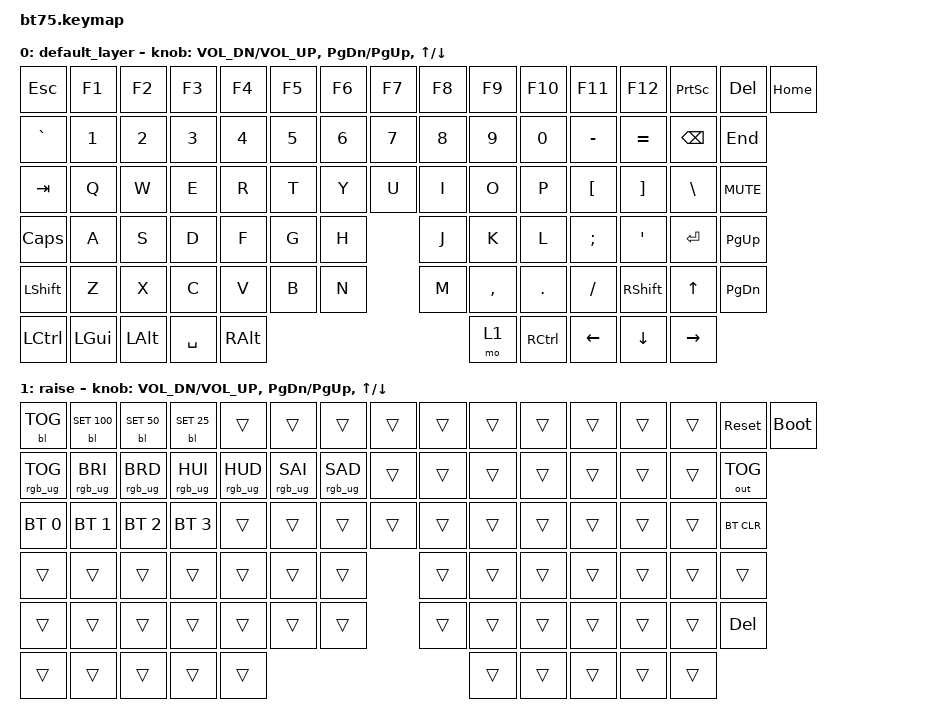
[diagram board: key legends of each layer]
#include <behaviors.dtsi>
#include <dt-bindings/zmk/keys.h>
#include <dt-bindings/zmk/bt.h>
#include <dt-bindings/zmk/rgb.h>
#include <dt-bindings/zmk/backlight.h>
#include <dt-bindings/zmk/ext_power.h>
#include <dt-bindings/zmk/outputs.h>

/ {
	keymap {
		compatible = "zmk,keymap";
		default_layer {
			bindings = <
&kp ESC 	&kp F1	&kp F2	&kp F3	&kp F4	&kp F5	&kp F6	&kp F7	&kp F8		&kp F9	&kp F10		&kp F11		&kp F12		&kp PSCRN	&kp DEL	&kp HOME
&kp GRAVE 	&kp N1	&kp N2	&kp N3	&kp N4	&kp N5	&kp N6	&kp N7	&kp N8		&kp N9	&kp N0		&kp MINUS	&kp EQUAL	&kp BKSP		&kp END
&kp TAB		&kp Q	&kp W	&kp E	&kp R	&kp T	&kp Y	&kp U	&kp I		&kp O	&kp P		&kp LBKT	&kp RBKT	&kp BSLH		&kp C_MUTE
&kp CLCK	&kp A	&kp S	&kp D	&kp F	&kp G	&kp H	&kp J	&kp K		&kp L	&kp SEMI	&kp SQT			&kp RET				&kp PG_UP
&kp LSHFT	&kp Z	&kp X	&kp C	&kp V	&kp B	&kp N	&kp M	&kp COMMA	&kp DOT	&kp FSLH		&kp RSHFT		&kp UP			&kp PG_DN
&kp LCTRL 	&kp LGUI	&kp LALT	&kp SPACE				&kp RALT	&mo 1	&kp RCTRL	&kp LEFT	&kp DOWN		&kp RIGHT
			>;
sensor-bindings = <&inc_dec_kp C_VOL_DN C_VOL_UP &inc_dec_kp PG_DN PG_UP &inc_dec_kp UP DOWN>;
		};
		raise {
			bindings = <
&bl BL_TOG	&bl BL_SET 100		&bl BL_SET 50	&bl BL_SET 25	 &trans	&trans	&trans	&trans	&trans	&trans	&trans	&trans	&trans	&trans	&sys_reset	&bootloader
&rgb_ug RGB_TOG	&rgb_ug RGB_BRI	&rgb_ug RGB_BRD	&rgb_ug RGB_HUI	&rgb_ug RGB_HUD	&rgb_ug RGB_SAI	&rgb_ug RGB_SAD	&trans	&trans	&trans	&trans	&trans	&trans	&trans	&out OUT_TOG
&bt BT_SEL 0	&bt BT_SEL 1	&bt BT_SEL 2	&bt BT_SEL 3	&trans	&trans	&trans	&trans	&trans	&trans	&trans	&trans	&trans	&trans	&bt BT_CLR
&trans	&trans	&trans	&trans	&trans	&trans	&trans	&trans	&trans	&trans	&trans	&trans	&trans	&trans
&trans	&trans	&trans	&trans	&trans	&trans	&trans	&trans	&trans	&trans	&trans	&trans	&trans	&kp DELETE
&trans	&trans	&trans	&trans	&trans	&trans	&trans	&trans	&trans	&trans
			>;
sensor-bindings = <&inc_dec_kp C_VOL_DN C_VOL_UP &inc_dec_kp PG_DN PG_UP &inc_dec_kp UP DOWN>;
		};
	};
};
